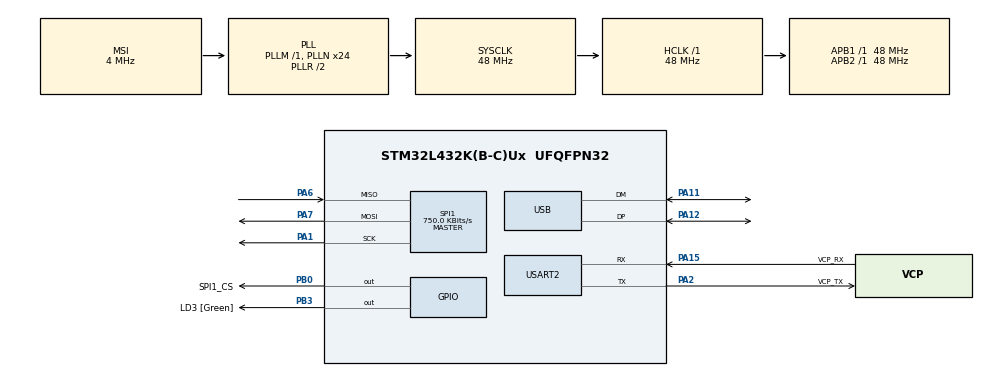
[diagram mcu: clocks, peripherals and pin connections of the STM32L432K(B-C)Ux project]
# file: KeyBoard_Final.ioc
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Mcu.Family=STM32L4
Mcu.Name=STM32L432K(B-C)Ux
Mcu.Package=UFQFPN32
NVIC.PriorityGroup=NVIC_PRIORITYGROUP_4
NVIC.TIM2_IRQn=true\:0\:0\:false\:false\:true\:true\:true\:true
NVIC.USB_IRQn=true\:0\:0\:false\:false\:true\:false\:true\:true
PA0.GPIO_Label=MCO [High speed clock in]
PA0.Mode=HSE-External-Clock-Source-for-LittleOrca
PA0.Signal=RCC_CK_IN
PA1.Mode=Full_Duplex_Master
PA1.Signal=SPI1_SCK
PA11.Mode=Device
PA11.Signal=USB_DM
PA12.Mode=Device
PA12.Signal=USB_DP
PA13\ (JTMS-SWDIO).GPIO_Label=SWDIO
PA13\ (JTMS-SWDIO).Mode=Serial_Wire
PA13\ (JTMS-SWDIO).Signal=SYS_JTMS-SWDIO
PA14\ (JTCK-SWCLK).GPIO_Label=SWCLK
PA14\ (JTCK-SWCLK).Mode=Serial_Wire
PA14\ (JTCK-SWCLK).Signal=SYS_JTCK-SWCLK
PA15\ (JTDI).GPIO_Label=VCP_RX
PA15\ (JTDI).Mode=Asynchronous
PA15\ (JTDI).Signal=USART2_RX
PA2.GPIO_Label=VCP_TX
PA2.Mode=Asynchronous
PA2.Signal=USART2_TX
PA6.Mode=Full_Duplex_Master
PA6.Signal=SPI1_MISO
PA7.Mode=Full_Duplex_Master
PA7.Signal=SPI1_MOSI
PB0.GPIO_Label=SPI1_CS
PB0.Signal=GPIO_Output
PB3\ (JTDO-TRACESWO).GPIO_Label=LD3 [Green]
PB3\ (JTDO-TRACESWO).PinState=GPIO_PIN_SET
PB3\ (JTDO-TRACESWO).Signal=GPIO_Output
PC14-OSC32_IN\ (PC14).Mode=LSE-External-Oscillator
PC14-OSC32_IN\ (PC14).Signal=RCC_OSC32_IN
PC15-OSC32_OUT\ (PC15).Mode=LSE-External-Oscillator
PC15-OSC32_OUT\ (PC15).Signal=RCC_OSC32_OUT
ProjectManager.HeapSize=0x1200
ProjectManager.StackSize=0x400
ProjectManager.TargetToolchain=STM32CubeIDE
RCC.ADCFreq_Value=48000000
RCC.AHBFreq_Value=48000000
RCC.APB1Freq_Value=48000000
RCC.APB1TimFreq_Value=48000000
RCC.APB2Freq_Value=48000000
RCC.APB2TimFreq_Value=48000000
RCC.CortexFreq_Value=48000000
RCC.HCLKFreq_Value=48000000
RCC.HSE_VALUE=8000000
RCC.HSI16_VALUE=16000000
RCC.HSI48_VALUE=48000000
RCC.HSI_VALUE=16000000
RCC.MSI_VALUE=4000000
RCC.PLLMUL=RCC_PLLMUL_4
RCC.PLLN=24
RCC.PLLSAI1N=24
RCC.SYSCLKFreq_VALUE=48000000
RCC.SYSCLKSource=RCC_SYSCLKSOURCE_PLLCLK
RCC.USBFreq_Value=48000000
RCC.VCOOutputFreq_Value=96000000
SPI1.BaudRatePrescaler=SPI_BAUDRATEPRESCALER_64
SPI1.CalculateBaudRate=750.0 KBits/s
SPI1.DataSize=SPI_DATASIZE_8BIT
SPI1.Direction=SPI_DIRECTION_2LINES
SPI1.Mode=SPI_MODE_MASTER
SPI1.VirtualType=VM_MASTER
TIM2.Period=399
TIM2.Prescaler=7199
USART2.VirtualMode-Asynchronous=VM_ASYNC
USB_DEVICE.CLASS_NAME_FS=CUSTOM_HID
USB_DEVICE.MANUFACTURER_STRING=ZRZ
USB_DEVICE.VirtualMode=CustomHid
USB_DEVICE.VirtualModeFS=Custom_Hid_FS
VP_TIM2_VS_ClockSourceINT.Mode=Internal
VP_USB_DEVICE_VS_USB_DEVICE_CUSTOM_HID_FS.Mode=CUSTOM_HID_FS
board=NUCLEO-L432KC

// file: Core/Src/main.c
/* USER CODE BEGIN Header */
/**
  ******************************************************************************
  * @file           : main.c
  * @brief          : Main program body
  ******************************************************************************
  * @attention
  *
  * Copyright (c) 2024 STMicroelectronics.
  * All rights reserved.
  *
  * This software is licensed under terms that can be found in the LICENSE file
  * in the root directory of this software component.
  * If no LICENSE file comes with this software, it is provided AS-IS.
  *
  ******************************************************************************
  */
/* USER CODE END Header */
#include "main.h"
#include "spi.h"
#include "tim.h"
#include "usart.h"
#include "usb_device.h"
#include "gpio.h"

/* USER CODE BEGIN Includes */
#include "usbd_customhid.h"
/* USER CODE END Includes */

/* USER CODE BEGIN PTD */
/**Full key conflict free descriptor:
 *-----------------------------------------------------------------------------
 * Descriptor length:73Bytes
 * ____________________________________________________________________________
 *| Send Bytes Num:15Bytes                                                     |
 *| buffer[0] - bit0: Left CTRL                                                |
 *|           - bit1: Left SHIFT                                               |
 *|           - bit2: Left ALT                                                 |
 *|           - bit3: Left GUI                                                 |
 *|           - bit4: Right CTRL                                               |
 *|           - bit5: Right SHIFT                                              |
 *|           - bit6: Right ALT                                                |
 *|           - bit7: Right GUI                                                |
 *| buffer[1] - Padding = Always 0x00                                          |
 *| buffer[2] - (A & a) ~ (H & h)                                              |
 *| buffer[3] - (I & i) ~ (P & p)                                              |
 *| buffer[4] - (Q & q) ~ (X & x)                                              |
 *| buffer[5] - (Y & y) ~ (Z & z) | 1 ~ 6                                      |
 *| buffer[6] - 7 ~ 0 | Enter | Esc | Backspace | Tab                          |
 *|** This is the number key 1 ~ 0 in the main keyboard area                   |
 *| buffer[7] - Space | - | = | [ | ] | \ | \ | ;                              |
 *| buffer[8] - ' | ` | , | . | / | Cap | F1 ~ F2                              |
 *| buffer[9] - F3 ~ F10                                                       |
 *| buffer[A] - F11 ~ F12 | PRTSRC | ScrollLock | Pause | Insert | Home | PgUp |
 *| buffer[B] - Delete | End | PgDn | Right | Left | Down | Up | Lock          |
 *| buffer[C] - / | * | - | + | Enter | 1 ~ 3                                  |
 *| buffer[D] - 4 ~ 0 | .                                                      |
 *|** This is the number key 1 ~ 0 in the numeric keypad area                  |
 *| buffer[E] - (Keypad 6) ~ (Keyboard Application)                            |
 *|____________________________________________________________________________|
 *| Recv Bytes Num:1Bytes                                                      |
 *| buffer[0] - bit0: Num Lock       //States of Num Lock LED                  |
 *|           - bit1: Caps Lock      //States of Caps Lock LED                 |
 *|           - bit2: Scroll Lock    //States of Scroll Lock LED               |
 *|           - bit3: Compose        //States of Compose LED                   |
 *|           - bit4: Kana           //States of Kana LED                      |
 *|           - bit5-7: Additional LED                                         |                                              |
 *|____________________________________________________________________________|
 *-----------------------------------------------------------------------------
 **Following is the mapping from:
 *| [ASCII code characters] to [corresponding keyboard descriptors]
 * ____________________________________________________________________________
 *|        From ASCII to Keyboard descriptors Mapping Table                    |
 *| 1. This is a mapping in [half-width] + [lowercase] mode                    |
 *| 2. The upper four bits are the (buffer index:Ah[from 0 to 15]),            |
 *| 3. the highest bit of the lower four bits is                               |
 *|    whether to use the control key shift(Bh+8h/Bh+0h),                      |
 *| 4. and the remaining three bits are the                                    |
 *|    (byte numbers:Bh[from 0h to 7h])                                        |
 *|    corresponding to                                                        |
 *|    the descriptor of the ASCII character in the buffer array index         |
 *| 5. map[ASCII] = 0x(A)(B/B+8)                                               |
 *| 6. map[0]-[127] is standard mapping from ASCII to its descriptor           |
 *|    map[128]-[]  is Customize keyboard shortcuts to its descriptor:         |
 *|        (1).map[128]:Capslock's descriptor                                  |
 *|        (2).map[129]:Backspace's descriptor                                 |
 *|____________________________________________________________________________|
  uint8_t map[129]={
  		0x00, 0x00, 0x00, 0x00, 0x00, 0x00, 0x00, 0x00,
  		0x00, 0x00, 0x64, 0x00, 0x00, 0x64, 0x00, 0x00,
  		0x00, 0x00, 0x00, 0x00, 0x00, 0x00, 0x00, 0x00,
  		0x00, 0x00, 0x00, 0x00, 0x00, 0x00, 0x00, 0x00,
  		0x70, 0x5a, 0x88, 0x5c, 0x5d, 0x5e, 0x68, 0x80,
  		0x6a, 0x6b, 0x69, 0x7a, 0x82, 0x71, 0x83, 0x84,
  		0x63, 0x52, 0x53, 0x54, 0x55, 0x56, 0x57, 0x60,
  		0x61, 0x62, 0x7f, 0x77, 0x8a, 0x72, 0x8b, 0x8c,
  		0x5b, 0x28, 0x29, 0x2a, 0x2b, 0x2c, 0x2d, 0x2e,
  		0x2f, 0x38, 0x39, 0x3a, 0x3b, 0x3c, 0x3d, 0x3e,
  		0x3f, 0x48, 0x49, 0x4a, 0x4b, 0x4c, 0x4d, 0x4e,
  		0x4f, 0x58, 0x59, 0x73, 0x75, 0x74, 0x5f, 0x79,
  		0x81, 0x20, 0x21, 0x22, 0x23, 0x24, 0x25, 0x26,
  		0x27, 0x30, 0x31, 0x32, 0x33, 0x34, 0x35, 0x36,
  		0x37, 0x40, 0x41, 0x42, 0x43, 0x44, 0x45, 0x46,
  		0x47, 0x50, 0x51, 0x7b, 0x7d, 0x7c, 0x89, 0xb0,
  		0x85,     //ASCII[128]:Capslock
  		0x66,     //ASCII[129]:Backspace
  };
 *-----------------------------------------------------------------------------
 **Following are the descriptor set in Function:
 *                CUSTOM_HID_ReportDesc_FS in usbd_custom_hid_if.c
 //  0x05, 0x01,                    // USAGE_PAGE (Generic Desktop)//73U
 //  0x09, 0x06,                    // USAGE (Keyboard)
 //  0xa1, 0x01,                    // COLLECTION (Application)
 //  0x05, 0x07,                    //   USAGE_PAGE (Keyboard)
 //  0x19, 0xe0,                    //   USAGE_MINIMUM (Keyboard LeftControl)
 //  0x29, 0xe7,                    //   USAGE_MAXIMUM (Keyboard Right GUI)
 //  0x15, 0x00,                    //   LOGICAL_MINIMUM (0)
 //  0x25, 0x01,                    //   LOGICAL_MAXIMUM (1)
 //  0x95, 0x08,                    //   REPORT_COUNT (8)
 //  0x75, 0x01,                    //   REPORT_SIZE (1)
 //  0x81, 0x02,                    //   INPUT (Data,Var,Abs)
 //  0x95, 0x01,                    //   REPORT_COUNT (1)
 //  0x75, 0x08,                    //   REPORT_SIZE (8)
 //  0x81, 0x03,                    //   INPUT (Cnst,Var,Abs)
 //  0x05, 0x07,                    //   USAGE_PAGE (Keyboard)
 //  0x19, 0x04,                    //   USAGE_MINIMUM (Keyboard a and A)
 //  0x29, 0x65,                    //   USAGE_MAXIMUM (Keyboard Application)
 //  0x15, 0x00,                    //   LOGICAL_MINIMUM (0)
 //  0x25, 0x01,                    //   LOGICAL_MAXIMUM (1)
 //  0x95, 0x62,                    //   REPORT_COUNT (98)
 //  0x75, 0x01,                    //   REPORT_SIZE (1)
 //  0x81, 0x02,                    //   INPUT (Data,Var,Abs)
 //  0x95, 0x01,                    //   REPORT_COUNT (1)
 //  0x75, 0x06,                    //   REPORT_SIZE (6)
 //  0x81, 0x03,                    //   INPUT (Cnst,Var,Abs)
 //  0x05, 0x08,                    //   USAGE_PAGE (LEDs)
 //  0x19, 0x01,                    //   USAGE_MINIMUM (Num Lock)
 //  0x29, 0x05,                    //   USAGE_MAXIMUM (Kana)
 //  0x15, 0x00,                    //   LOGICAL_MINIMUM (0)
 //  0x25, 0x01,                    //   LOGICAL_MAXIMUM (1)
 //  0x95, 0x05,                    //   REPORT_COUNT (5)
 //  0x75, 0x01,                    //   REPORT_SIZE (1)
 //  0x91, 0x02,                    //   OUTPUT (Data,Var,Abs)
 //  0x95, 0x01,                    //   REPORT_COUNT (1)
 //  0x75, 0x03,                    //   REPORT_SIZE (3)
 //  0x91, 0x03,                    //   OUTPUT (Cnst,Var,Abs)
 //  0xc0                           // END_COLLECTION
 *----------------------------------------------------------------------------
 **Following are init steps about this Project:
 * 1. usbd_conf.h: //can modify to USER CODE position
 *    #define USBD_CUSTOM_HID_REPORT_DESC_SIZE     73U
 *    #define USBD_CUSTOMHID_OUTREPORT_BUF_SIZE    15U
 *    #define USBD_CUSTOMHID_INREPORT_BUF_SIZE     01U
 * 2. usbd_customhid.h:
 *    #ifndef USBD_CUSTOMHID_OUTREPORT_BUF_SIZE
 *    #define USBD_CUSTOMHID_OUTREPORT_BUF_SIZE  0x0fU //15Bytes
 *    #endif  //USBD_CUSTOMHID_OUTREPORT_BUF_SIZE
 *    #ifndef USBD_CUSTOMHID_INREPORT_BUF_SIZE
 *    #define USBD_CUSTOMHID_INREPORT_BUF_SIZE   01U   //1Bytes
 *    #endif  //USBD_CUSTOMHID_INREPORT_BUF_SIZE
 *    #ifndef USBD_CUSTOM_HID_REPORT_DESC_SIZE
 *    #define USBD_CUSTOM_HID_REPORT_DESC_SIZE   73U   //73Bytes
 *    #endif  //USBD_CUSTOM_HID_REPORT_DESC_SIZE
 * 3. usbd_customhid.c:
 *    USB CUSTOM_HID device FS Configuration Descriptor:
 *        Descriptor of CUSTOM HID interface:
 *            0x01,  //nInterfaceProtocol : 0=none, 1=keyboard, 2=mouse
 * 4. usbd_custom_hid_if.c:
 *    Modify your code to USER CODE position:
 *    (1).Referencing external variables:
 *        (1).if stm32f0xx:
 *            extern uint8_t recv_buffer[USBD_CUSTOMHID_INREPORT_BUF_SIZE];
 *            extern int InterruptFlag;
 *            extern USBD_HandleTypeDef hUsbDeviceFS;
 *        (2).if stm32l4xx:
 *            Skip this step;
 *    (2).Fill in custom keyboard device descriptors
 *    (3).Customize Callback function:[CUSTOM_HID_OutEvent_FS]
 *        Which deals with received data from host.
 *        (1).stm32f0xx:Add following codes
 *        (2).stm32l4xx:Add following codes in file:[usbd_customhid.c]
 *            In function USBD_CUSTOM_HID_ReceivePacket:
 *        //definition:
 *          extern uint8_t recv_buffer[USBD_CUSTOMHID_INREPORT_BUF_SIZE];
 *          extern int InterruptFlag;
 *        //After func USBD_LL_PrepareReceive in USBD_CUSTOM_HID_ReceivePacket
 *        / *USBD_CUSTOMHID_INREPORT_BUF_SIZE is always 1,
 *          * Copy hhid->Report_buf[0] directly to recv_buffer[0]
 *          * By judging conditions,
 *          * Aiming to eliminating loop operations:
 *          * for(int i = 0; i < USBD_CUSTOMHID_INREPORT_BUF_SIZE; i++)
 *          *     recv_buffer[i] = hhid->Report_buf[i];
 *          * /
 *          if(((recv_buffer[0]=(hhid->Report_buf[0]))&0x02) != 0x02){
 *              InterruptFlag = 1;
 *          }
 * 5. stm32l4xx_hal_pcd.c/stm32f0xx_hal_pcd.c:
 *    (1).Add these external declarations at the beginning of this file:
 *        #define USBD_CUSTOMHID_INREPORT_BUF_SIZE 1
 *        extern uint8_t recv_buffer[USBD_CUSTOMHID_INREPORT_BUF_SIZE];
 *        extern int InterruptFlag;
 *        extern int NeedRollBack;
 *    (2).In function: HAL_StatusTypeDef HAL_PCD_EP_Transmit();(line 2049)
 *        Add following codes **before** USB_EPStartXfer function:
 *            //Determine whether to generate an interrupt:
 *            if((recv_buffer[0]&0x02) != 0x02)
 *                InterruptFlag = 1;
 *        Add following codes **after** USB_EPStartXfer function:
 *            //Output test to choose whether to RollBack:
 *            if((recv_buffer[0]&0x02) != 0x02)
 *                NeedRollBack = 1;
 *----------------------------------------------------------------------------*/
/* USER CODE END PTD */

/* USER CODE BEGIN PV */
extern USBD_HandleTypeDef hUsbDeviceFS;
/* USER CODE END PV */

void SystemClock_Config(void);

/* USER CODE BEGIN 0 */
#define MapLen 130
//You can adjust StrokeSlot to ensure the the correctness and stability of the output
#define StrokeSlot 35
uint8_t sent_buffer[USBD_CUSTOMHID_OUTREPORT_BUF_SIZE];

uint8_t recv_buffer[USBD_CUSTOMHID_INREPORT_BUF_SIZE];

#define Map_Init {\
0x00, 0x00, 0x00, 0x00, 0x00, 0x00, 0x00, 0x00,\
0x00, 0x00, 0x64, 0x00, 0x00, 0x64, 0x00, 0x00,\
0x00, 0x00, 0x00, 0x00, 0x00, 0x00, 0x00, 0x00,\
0x00, 0x00, 0x00, 0x00, 0x00, 0x00, 0x00, 0x00,\
0x70, 0x5a, 0x88, 0x5c, 0x5d, 0x5e, 0x68, 0x80,\
0x6a, 0x6b, 0x69, 0x7a, 0x82, 0x71, 0x83, 0x84,\
0x63, 0x52, 0x53, 0x54, 0x55, 0x56, 0x57, 0x60,\
0x61, 0x62, 0x7f, 0x77, 0x8a, 0x72, 0x8b, 0x8c,\
0x5b, 0x28, 0x29, 0x2a, 0x2b, 0x2c, 0x2d, 0x2e,\
0x2f, 0x38, 0x39, 0x3a, 0x3b, 0x3c, 0x3d, 0x3e,\
0x3f, 0x48, 0x49, 0x4a, 0x4b, 0x4c, 0x4d, 0x4e,\
0x4f, 0x58, 0x59, 0x73, 0x75, 0x74, 0x5f, 0x79,\
0x81, 0x20, 0x21, 0x22, 0x23, 0x24, 0x25, 0x26,\
0x27, 0x30, 0x31, 0x32, 0x33, 0x34, 0x35, 0x36,\
0x37, 0x40, 0x41, 0x42, 0x43, 0x44, 0x45, 0x46,\
0x47, 0x50, 0x51, 0x7b, 0x7d, 0x7c, 0x89, 0xb0,\
0x85, 0x66, \
}\

int InterruptFlag = 0;
int InterruptCnt = 0;
int PrintCnt = 0;
int NeedRollBack = 0;

void Get_Descriptor(uint8_t ascii);
void SimulateKeyPress(uint8_t ascii);
void SimulateKeyRelease();
void SimulateKeyStroke(uint8_t ascii);
void SimulateKeyStrokes(char *str, int len, int *cntNow);
void PrintRecvBuf(uint8_t Recv_Buf[USBD_CUSTOMHID_INREPORT_BUF_SIZE]);
void InitKeyboardStatus();
void Convert2CapsMap(uint8_t LowerCaseMap[MapLen]);
void InterruptTrap(int *InterruptFlag);

/* USER CODE END 0 */

int main(void)
{

  /* MCU Configuration--------------------------------------------------------*/

  /* Reset of all peripherals, Initializes the Flash interface and the Systick. */
  HAL_Init();

  /* Configure the system clock */
  SystemClock_Config();

  /* Initialize all configured peripherals */
  MX_GPIO_Init();
  MX_USART2_UART_Init();
  MX_TIM2_Init();
  MX_USB_DEVICE_Init();
  MX_SPI1_Init();
  /* USER CODE BEGIN 2 */

  uint8_t Map[MapLen] = Map_Init;
  memset(sent_buffer, 0x00, sizeof(uint8_t)*USBD_CUSTOMHID_OUTREPORT_BUF_SIZE);
  Convert2CapsMap(Map);

  /* USER CODE END 2 */

  /* Infinite loop */
  /* USER CODE BEGIN WHILE */
  int flag = 1;
  while(1){
	  InterruptTrap(&InterruptFlag);

	  if(flag == 1){
		  HAL_Delay(500);
		  char AttackStr[256];
		  strcpy(AttackStr, "!@#$%^&*()_+1234567890~`{}|:\"<>?[];',./ashdahskdhasjdeuwhuASDJDHJAJKDHBSXAHE\n");
		  SimulateKeyStrokes(AttackStr, strlen(AttackStr), &PrintCnt);
		  flag = 0;
	  }

  }
  /* USER CODE END WHILE */
}

void SystemClock_Config(void)
{
  RCC_OscInitTypeDef RCC_OscInitStruct = {0};
  RCC_ClkInitTypeDef RCC_ClkInitStruct = {0};

  /** Configure the main internal regulator output voltage
  */
  if (HAL_PWREx_ControlVoltageScaling(PWR_REGULATOR_VOLTAGE_SCALE1) != HAL_OK)
  {
    Error_Handler();
  }

  /** Configure LSE Drive Capability
  */
  HAL_PWR_EnableBkUpAccess();
  __HAL_RCC_LSEDRIVE_CONFIG(RCC_LSEDRIVE_LOW);

  /** Initializes the RCC Oscillators according to the specified parameters
  * in the RCC_OscInitTypeDef structure.
  */
  RCC_OscInitStruct.OscillatorType = RCC_OSCILLATORTYPE_LSE|RCC_OSCILLATORTYPE_MSI;
  RCC_OscInitStruct.LSEState = RCC_LSE_ON;
  RCC_OscInitStruct.MSIState = RCC_MSI_ON;
  RCC_OscInitStruct.MSICalibrationValue = 0;
  RCC_OscInitStruct.MSIClockRange = RCC_MSIRANGE_6;
  RCC_OscInitStruct.PLL.PLLState = RCC_PLL_ON;
  RCC_OscInitStruct.PLL.PLLSource = RCC_PLLSOURCE_MSI;
  RCC_OscInitStruct.PLL.PLLM = 1;
  RCC_OscInitStruct.PLL.PLLN = 24;
  RCC_OscInitStruct.PLL.PLLP = RCC_PLLP_DIV7;
  RCC_OscInitStruct.PLL.PLLQ = RCC_PLLQ_DIV2;
  RCC_OscInitStruct.PLL.PLLR = RCC_PLLR_DIV2;
  if (HAL_RCC_OscConfig(&RCC_OscInitStruct) != HAL_OK)
  {
    Error_Handler();
  }

  /** Initializes the CPU, AHB and APB buses clocks
  */
  RCC_ClkInitStruct.ClockType = RCC_CLOCKTYPE_HCLK|RCC_CLOCKTYPE_SYSCLK
                              |RCC_CLOCKTYPE_PCLK1|RCC_CLOCKTYPE_PCLK2;
  RCC_ClkInitStruct.SYSCLKSource = RCC_SYSCLKSOURCE_PLLCLK;
  RCC_ClkInitStruct.AHBCLKDivider = RCC_SYSCLK_DIV1;
  RCC_ClkInitStruct.APB1CLKDivider = RCC_HCLK_DIV1;
  RCC_ClkInitStruct.APB2CLKDivider = RCC_HCLK_DIV1;

  if (HAL_RCC_ClockConfig(&RCC_ClkInitStruct, FLASH_LATENCY_2) != HAL_OK)
  {
    Error_Handler();
  }

  /** Enable MSI Auto calibration
  */
  HAL_RCCEx_EnableMSIPLLMode();
}

/* USER CODE BEGIN 4 */
void Get_Descriptor(uint8_t ascii){
	memset(sent_buffer, 0x00, sizeof(uint8_t)*USBD_CUSTOMHID_OUTREPORT_BUF_SIZE);
	uint8_t Map[MapLen] = Map_Init;
	uint8_t pos = Map[ascii];
	sent_buffer[(uint8_t)(pos>>4)] |= (1<<((uint8_t)(pos&0x07)));
	if((pos&0x08) == 8)
		sent_buffer[0] |= 0x02;
}

void SimulateKeyPress(uint8_t ascii){
    //get key:ascii Descriptor
    Get_Descriptor(ascii);
    //Ensure that this instruction is executed in uppercase environment.
//    while((recv_buffer[0]&0x02) != 0x02)
//    	HAL_Delay(1);
    //Sent Descriptor report
    USBD_CUSTOM_HID_SendReport(&hUsbDeviceFS, sent_buffer, USBD_CUSTOMHID_OUTREPORT_BUF_SIZE);
//    if((recv_buffer[0]&0x02) != 0x02)
//    	NeedRollBack = 1;
}

void SimulateKeyRelease(){
    //set 0
	memset(sent_buffer, 0x00, sizeof(uint8_t)*USBD_CUSTOMHID_OUTREPORT_BUF_SIZE);
    //Sent Descriptor report
	USBD_CUSTOM_HID_SendReport(&hUsbDeviceFS, sent_buffer, USBD_CUSTOMHID_OUTREPORT_BUF_SIZE);
}

void SimulateKeyStroke(uint8_t ascii){
	SimulateKeyPress(ascii);
    HAL_Delay(StrokeSlot); //Wait StrokeSlot time
    SimulateKeyRelease();
    HAL_Delay(StrokeSlot); //Wait StrokeSlot time
}

void SimulateKeyStrokes(char *str, int len, int *cntNow){
    for(; *cntNow < len; (*cntNow)++){
    	//Ensure func SimulateKeyStroke is executed in uppercase environment.
    	if((recv_buffer[0]&0x02) != 0x02){
    		SimulateKeyStroke(128);
    	}
    	SimulateKeyStroke(str[*cntNow]);
    	//Determine if RollBack is necessary
    	if(NeedRollBack == 1){
    		NeedRollBack = 0;
    		(*cntNow)--;
    		SimulateKeyStroke(129);
    	}
    }
}

void PrintRecvBuf(uint8_t Recv_Buf[USBD_CUSTOMHID_INREPORT_BUF_SIZE]){
	HAL_Delay(StrokeSlot);
	for(int i = 0; i < USBD_CUSTOMHID_INREPORT_BUF_SIZE; i++){
		for(int j = 0; j < 8; j++){
			SimulateKeyStroke(((Recv_Buf[i]&(uint8_t)(0x01<<j))>>j)+'0');
		}
	}
	SimulateKeyStroke('\n');
}

void InitKeyboardStatus(){//Convert keyboard to uppercase mode
	SimulateKeyStroke(128);
	HAL_Delay(StrokeSlot);
	if((recv_buffer[0]&0x02) != 0x02){
		SimulateKeyStroke(128);
		PrintRecvBuf(recv_buffer);  //print Keyboard LED Status
	}
}

void Convert2CapsMap(uint8_t LowerCaseMap[MapLen]){
	for(uint8_t cnt = 'A'; cnt <= 'Z'; cnt++){
		LowerCaseMap[cnt] &= 0xf7;
		LowerCaseMap[cnt+'a'-'A'] |= 0x08;
	}
}

void InterruptTrap(int *InterruptFlag){
	if(*InterruptFlag == 1){
		*InterruptFlag = 0;
		//Trigger timer interrupt immediately by setting the value of the register
		TIM2->EGR |= TIM_EGR_UG;
		//Second entry interrupt
		MX_TIM2_Init();
		HAL_TIM_Base_Start_IT(&htim2);
	}
}

void HAL_TIM_PeriodElapsedCallback(TIM_HandleTypeDef *htim){
	if(htim == &htim2){
		if(InterruptCnt == 0){
			//Simulate press operation
			Get_Descriptor(128);
			USBD_CUSTOM_HID_SendReport(&hUsbDeviceFS, sent_buffer, USBD_CUSTOMHID_OUTREPORT_BUF_SIZE);
//			HAL_GPIO_WritePin(GPIOB, GPIO_PIN_3, GPIO_PIN_SET);
		}else if(InterruptCnt == 1){
			//Simulate release operation
			SimulateKeyRelease();
			//Judging whether to Interrupt
			if((recv_buffer[0]&0x02) != 0x02)
				InterruptCnt = -1;
//			HAL_GPIO_WritePin(GPIOB, GPIO_PIN_3, GPIO_PIN_RESET);
		}else{
			//off timer
			TIM2->CR1 &= ~TIM_CR1_CEN;
		}
		InterruptCnt = (InterruptCnt+1)%3;
	}
}

void HAL_GPIO_EXTI_Callback(uint16_t GPIO_Pin){
	if(GPIO_Pin == GPIO_PIN_6){//Key_Pin
//		HAL_GPIO_WritePin(GPIOB, GPIO_PIN_3, GPIO_PIN_RESET);
	}
}

/* USER CODE END 4 */

void Error_Handler(void)
{
  __disable_irq();
  while (1)
  {
  }
}
